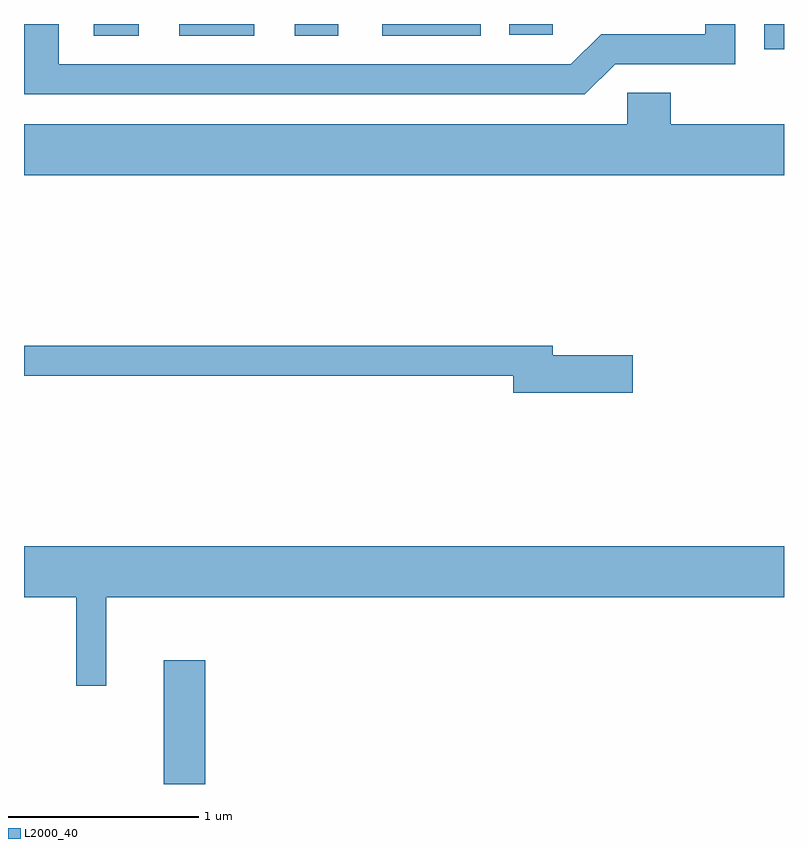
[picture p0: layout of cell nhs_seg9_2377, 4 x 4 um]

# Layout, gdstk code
import gdstk
lib = gdstk.Library(unit=1e-6, precision=1e-09)
def R(c, l, rs):  # rectangles x0, y0, x1, y1
    for r in rs: c.add(gdstk.rectangle(r[:2], r[2:], *l))
def P(c, l, *ps):  # polygons
    for p in ps: c.add(gdstk.Polygon(p, *l))
L2000_40 = (2000, 40)

nhs_seg9_2377 = lib.new_cell('nhs_seg9_2377')
R(nhs_seg9_2377, L2000_40, [(256.346,1946.432,256.564,1947.084), (259.506,1950.298,259.611,1950.432), (255.978,1950.371,256.214,1950.432), (256.428,1950.371,256.824,1950.432), (257.036,1950.371,257.264,1950.432), (257.496,1950.371,258.014,1950.432), (258.166,1950.376,258.394,1950.432)])
P(nhs_seg9_2377, L2000_40, [(258.722,1950.221),(259.354,1950.221),(259.354,1950.432),(259.196,1950.432),(259.196,1950.379),(258.649,1950.379),(258.489,1950.219),(255.794,1950.219),(255.794,1950.432),(255.611,1950.432),(255.611,1950.061),(258.562,1950.061)],
  [(259.611,1949.904),(259.014,1949.904),(259.014,1950.069),(258.786,1950.069),(258.786,1949.904),(255.611,1949.904),(255.611,1949.636),(259.611,1949.636)],
  [(258.814,1948.689),(258.394,1948.689),(258.394,1948.739),(255.611,1948.739),(255.611,1948.581),(258.186,1948.581),(258.186,1948.491),(258.814,1948.491)],
  [(256.044,1947.416),(259.611,1947.416),(259.611,1947.684),(255.611,1947.684),(255.611,1947.416),(255.886,1947.416),(255.886,1946.948),(256.044,1946.948)])

lib.write_gds('nhs_seg9_2377.gds')
